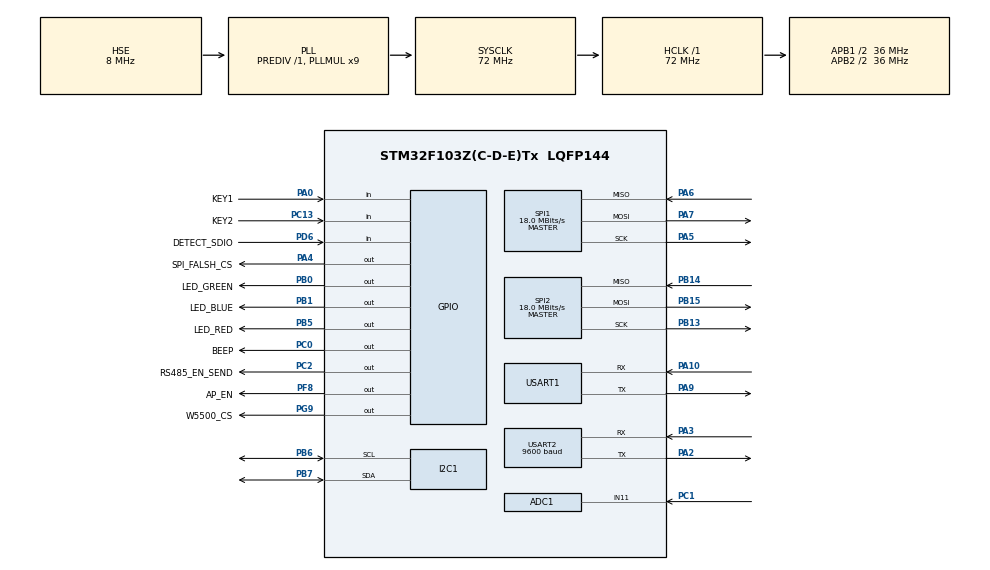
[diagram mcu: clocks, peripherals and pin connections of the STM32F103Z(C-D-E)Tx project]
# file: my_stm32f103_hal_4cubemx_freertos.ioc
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ADC1.Channel-0\#ChannelRegularConversion=ADC_CHANNEL_11
ADC1.NbrOfConversionFlag=1
ADC1.Rank-0\#ChannelRegularConversion=1
ADC1.SamplingTime-0\#ChannelRegularConversion=ADC_SAMPLETIME_1CYCLE_5
ADC1.master=1
FREERTOS.Tasks01=defaultTask,0,128,StartDefaultTask,Default,NULL,Dynamic,NULL,NULL
FREERTOS.configTOTAL_HEAP_SIZE=16384
Mcu.Family=STM32F1
Mcu.Name=STM32F103Z(C-D-E)Tx
Mcu.Package=LQFP144
NVIC.ADC1_2_IRQn=true\:5\:0\:false\:false\:true\:true\:true\:true\:true
NVIC.PriorityGroup=NVIC_PRIORITYGROUP_4
NVIC.TIM2_IRQn=true\:15\:0\:false\:false\:true\:false\:false\:true\:true
NVIC.TIM6_IRQn=true\:5\:0\:false\:false\:true\:true\:true\:true\:true
NVIC.TimeBase=TIM2_IRQn
NVIC.TimeBaseIP=TIM2
OSC_IN.Mode=HSE-External-Oscillator
OSC_IN.Signal=RCC_OSC_IN
OSC_OUT.Mode=HSE-External-Oscillator
OSC_OUT.Signal=RCC_OSC_OUT
PA0-WKUP.GPIO_Label=KEY1
PA0-WKUP.Signal=GPIO_Input
PA10.Mode=Asynchronous
PA10.Signal=USART1_RX
PA13.Mode=Serial_Wire
PA13.Signal=SYS_JTMS-SWDIO
PA14.Mode=Serial_Wire
PA14.Signal=SYS_JTCK-SWCLK
PA2.Mode=Asynchronous
PA2.Signal=USART2_TX
PA3.Mode=Asynchronous
PA3.Signal=USART2_RX
PA4.GPIO_Label=SPI_FALSH_CS
PA4.Signal=GPIO_Output
PA5.Mode=Full_Duplex_Master
PA5.Signal=SPI1_SCK
PA6.Mode=Full_Duplex_Master
PA6.Signal=SPI1_MISO
PA7.Mode=Full_Duplex_Master
PA7.Signal=SPI1_MOSI
PA9.Mode=Asynchronous
PA9.Signal=USART1_TX
PB0.GPIO_Label=LED_GREEN
PB0.PinState=GPIO_PIN_SET
PB0.Signal=GPIO_Output
PB1.GPIO_Label=LED_BLUE
PB1.PinState=GPIO_PIN_SET
PB1.Signal=GPIO_Output
PB13.Mode=Full_Duplex_Master
PB13.Signal=SPI2_SCK
PB14.Mode=Full_Duplex_Master
PB14.Signal=SPI2_MISO
PB15.Mode=Full_Duplex_Master
PB15.Signal=SPI2_MOSI
PB5.GPIO_Label=LED_RED
PB5.PinState=GPIO_PIN_SET
PB5.Signal=GPIO_Output
PB6.Mode=I2C
PB6.Signal=I2C1_SCL
PB7.Mode=I2C
PB7.Signal=I2C1_SDA
PC0.GPIO_Label=BEEP
PC0.Signal=GPIO_Output
PC1.Signal=ADCx_IN11
PC13-TAMPER-RTC.GPIO_Label=KEY2
PC13-TAMPER-RTC.Signal=GPIO_Input
PC14-OSC32_IN.Mode=LSE-External-Oscillator
PC14-OSC32_IN.Signal=RCC_OSC32_IN
PC15-OSC32_OUT.Mode=LSE-External-Oscillator
PC15-OSC32_OUT.Signal=RCC_OSC32_OUT
PC2.GPIO_Label=RS485_EN_SEND
PC2.Signal=GPIO_Output
PD6.GPIO_Label=DETECT_SDIO
PD6.Signal=GPIO_Input
PF8.GPIO_Label=AP_EN
PF8.Signal=GPIO_Output
PG9.GPIO_Label=W5500_CS
PG9.Signal=GPIO_Output
ProjectManager.HeapSize=0x200
ProjectManager.StackSize=0x400
ProjectManager.TargetToolchain=MDK-ARM V5.32
RCC.ADCPresc=RCC_ADCPCLK2_DIV6
RCC.AHBFreq_Value=72000000
RCC.APB1CLKDivider=RCC_HCLK_DIV2
RCC.APB1Freq_Value=36000000
RCC.APB1TimFreq_Value=72000000
RCC.APB2CLKDivider=RCC_HCLK_DIV2
RCC.APB2Freq_Value=36000000
RCC.APB2TimFreq_Value=72000000
RCC.HCLKFreq_Value=72000000
RCC.PLLMUL=RCC_PLL_MUL9
RCC.PLLSourceVirtual=RCC_PLLSOURCE_HSE
RCC.RTCClockSelection=RCC_RTCCLKSOURCE_LSE
RCC.SYSCLKFreq_VALUE=72000000
RCC.SYSCLKSource=RCC_SYSCLKSOURCE_PLLCLK
RCC.USBFreq_Value=72000000
SH.ADCx_IN11.0=ADC1_IN11,IN11
SPI1.BaudRatePrescaler=SPI_BAUDRATEPRESCALER_2
SPI1.CalculateBaudRate=18.0 MBits/s
SPI1.Direction=SPI_DIRECTION_2LINES
SPI1.Mode=SPI_MODE_MASTER
SPI1.VirtualType=VM_MASTER
SPI2.CalculateBaudRate=18.0 MBits/s
SPI2.Direction=SPI_DIRECTION_2LINES
SPI2.Mode=SPI_MODE_MASTER
SPI2.VirtualType=VM_MASTER
TIM6.AutoReloadPreload=TIM_AUTORELOAD_PRELOAD_ENABLE
TIM6.Period=999
TIM6.Prescaler=72
USART1.VirtualMode=VM_ASYNC
USART2.BaudRate=9600
USART2.VirtualMode=VM_ASYNC
VP_FREERTOS_VS_CMSIS_V1.Mode=CMSIS_V1
VP_RTC_VS_RTC_Activate.Mode=RTC_Enabled
VP_SYS_VS_tim2.Mode=TIM2
VP_TIM6_VS_ClockSourceINT.Mode=Enable_Timer
board=custom

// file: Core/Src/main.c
/* USER CODE BEGIN Header */
/**
  ******************************************************************************
  * @file           : main.c
  * @brief          : Main program body
  ******************************************************************************
  * @attention
  *
  * Copyright (c) 2025 STMicroelectronics.
  * All rights reserved.
  *
  * This software is licensed under terms that can be found in the LICENSE file
  * in the root directory of this software component.
  * If no LICENSE file comes with this software, it is provided AS-IS.
  *
  ******************************************************************************
  */
/* USER CODE END Header */
#include "main.h"
#include "cmsis_os.h"

/* USER CODE BEGIN Includes */
#include <stdio.h>
#include <ctype.h>
#include <stdbool.h>
#include <string.h>
#include "ap3216c.h"
#include "socket.h"
#include "DHCP/dhcp.h"
#include "DNS/dns.h"
#include "bsp_spi_flash.h"

/* USER CODE END Includes */

/* USER CODE BEGIN PD */
#define DHCP_SOCKET     0
#define DNS_SOCKET      1
#define HTTP_SOCKET     2

/* USER CODE END PD */

ADC_HandleTypeDef hadc1;

I2C_HandleTypeDef hi2c1;

RTC_HandleTypeDef hrtc;

SPI_HandleTypeDef hspi1;
SPI_HandleTypeDef hspi2;

TIM_HandleTypeDef htim6;

UART_HandleTypeDef huart1;
UART_HandleTypeDef huart2;

osThreadId defaultTaskHandle;
/* USER CODE BEGIN PV */
/* ---------------------------------------- task handles -------------------------------------------------- */
static osThreadId len_run_task_Handle; /* len_run_task handle */
static osThreadId key_scan_task_Handle; /* key_scan_task handle */
static osThreadId get_i2c_data_task_Handle; /* get_i2c_data_task handle */
static osThreadId get_adc_data_task_Handle; /* get_adc_data_task handle */
static osThreadId print_data_task_Handle; /* print_data_task handle */
static osThreadId network_task_Handle; /* network_task handle */
static osThreadId spi_flash_test_task_Handle; /* spi_flash_test_task handle */

/* ---------------------------------------- data variables -------------------------------------------------- */
static uint32_t adcValue;
float user_ALS;
uint16_t user_PS;
uint16_t user_IR;
uint64_t g_time_ms;

/* ---------------------------------------- network variables ---------- */
uint8_t dhcp_buffer[1024]; // 1K should be enough, see https://forum.wiznet.io/t/topic/1612/2
uint8_t dns_buffer[1024]; // 1K seems to be enough for this buffer as well
volatile bool ip_assigned = false;

void CheckHeapSize(void);
/* USER CODE END PV */

void SystemClock_Config(void);
static void MX_GPIO_Init(void);
static void MX_ADC1_Init(void);
static void MX_I2C1_Init(void);
static void MX_RTC_Init(void);
static void MX_TIM6_Init(void);
static void MX_USART1_UART_Init(void);
static void MX_USART2_UART_Init(void);
static void MX_SPI1_Init(void);
static void MX_SPI2_Init(void);
void StartDefaultTask(void const * argument);

/* USER CODE BEGIN PFP */
static void led_run_task(void const * argument);/* len_run_task function */
static void key_scan_task(void const * argument);/* key_scan_task function */
static void get_i2c_data_task(void const * argument);/* get_i2c_data_task function */
static void get_adc_data_task(void const * argument);/* get_adc_data_task function */
static void print_data_task(void const * argument);/* print_data_task function */
static void network_task(void const * argument);/* network_task function */
static void spi_flash_test_task(void const * argument);/* spi_flash_test_task function */

/* USER CODE END PFP */

int main(void)
{

  /* MCU Configuration--------------------------------------------------------*/

  /* Reset of all peripherals, Initializes the Flash interface and the Systick. */
  HAL_Init();

  /* Configure the system clock */
  SystemClock_Config();

  /* Initialize all configured peripherals */
  MX_GPIO_Init();
  MX_ADC1_Init();
  MX_I2C1_Init();
  MX_RTC_Init();
  MX_TIM6_Init();
  MX_USART1_UART_Init();
  MX_USART2_UART_Init();
  MX_SPI1_Init();
  MX_SPI2_Init();
  /* USER CODE BEGIN 2 */
  HAL_TIM_Base_Start_IT(&htim6);
  ap3216c_init();
  SPI_FLASH_Init();
  /* USER CODE END 2 */

  /* Create the thread(s) */
  /* definition and creation of defaultTask */
  osThreadDef(defaultTask, StartDefaultTask, osPriorityNormal, 0, 128);
  defaultTaskHandle = osThreadCreate(osThread(defaultTask), NULL);

  /* USER CODE BEGIN RTOS_THREADS */
  /* add threads, ... */
  osThreadDef(LedRunTask, led_run_task, osPriorityNormal, 1, 128);
  len_run_task_Handle = osThreadCreate(osThread(LedRunTask), NULL);

  osThreadDef(KeyScanTask, key_scan_task, osPriorityNormal, 2, 128);
  key_scan_task_Handle = osThreadCreate(osThread(KeyScanTask), NULL);

  osThreadDef(GetI2cDataTask, get_i2c_data_task, osPriorityNormal, 1, 128);
  get_i2c_data_task_Handle = osThreadCreate(osThread(GetI2cDataTask), NULL);

  osThreadDef(GetAdcDataTask, get_adc_data_task, osPriorityNormal, 1, 128);
  get_adc_data_task_Handle = osThreadCreate(osThread(GetAdcDataTask), NULL);

  osThreadDef(PrintDataTask, print_data_task, osPriorityNormal, 1, 128);
  print_data_task_Handle = osThreadCreate(osThread(PrintDataTask), NULL);

//  osThreadDef(NetworkTask, network_task, osPriorityNormal, 1, 1024);
//  network_task_Handle = osThreadCreate(osThread(NetworkTask), NULL);

//  osThreadDef(SpiFlashTestTask, spi_flash_test_task, osPriorityNormal, 1, 128);
//  spi_flash_test_task_Handle = osThreadCreate(osThread(SpiFlashTestTask), NULL);

  CheckHeapSize();
  printf("Start scheduler\r\n");
  /* USER CODE END RTOS_THREADS */

  /* Start scheduler */
  osKernelStart();

  /* We should never get here as control is now taken by the scheduler */

  /* Infinite loop */
  /* USER CODE BEGIN WHILE */
  while (1)
  {
    osThreadTerminate(len_run_task_Handle);
    osThreadTerminate(key_scan_task_Handle);
    osThreadTerminate(get_i2c_data_task_Handle);
    osThreadTerminate(get_adc_data_task_Handle);
    osThreadTerminate(print_data_task_Handle);
    osThreadTerminate(network_task_Handle);
    osThreadTerminate(spi_flash_test_task_Handle);
    /* USER CODE END WHILE */

  }
}

void SystemClock_Config(void)
{
  RCC_OscInitTypeDef RCC_OscInitStruct = {0};
  RCC_ClkInitTypeDef RCC_ClkInitStruct = {0};
  RCC_PeriphCLKInitTypeDef PeriphClkInit = {0};

  /** Initializes the RCC Oscillators according to the specified parameters
  * in the RCC_OscInitTypeDef structure.
  */
  RCC_OscInitStruct.OscillatorType = RCC_OSCILLATORTYPE_HSE|RCC_OSCILLATORTYPE_LSE;
  RCC_OscInitStruct.HSEState = RCC_HSE_ON;
  RCC_OscInitStruct.HSEPredivValue = RCC_HSE_PREDIV_DIV1;
  RCC_OscInitStruct.LSEState = RCC_LSE_ON;
  RCC_OscInitStruct.HSIState = RCC_HSI_ON;
  RCC_OscInitStruct.PLL.PLLState = RCC_PLL_ON;
  RCC_OscInitStruct.PLL.PLLSource = RCC_PLLSOURCE_HSE;
  RCC_OscInitStruct.PLL.PLLMUL = RCC_PLL_MUL9;
  if (HAL_RCC_OscConfig(&RCC_OscInitStruct) != HAL_OK)
  {
    Error_Handler();
  }

  /** Initializes the CPU, AHB and APB buses clocks
  */
  RCC_ClkInitStruct.ClockType = RCC_CLOCKTYPE_HCLK|RCC_CLOCKTYPE_SYSCLK
                              |RCC_CLOCKTYPE_PCLK1|RCC_CLOCKTYPE_PCLK2;
  RCC_ClkInitStruct.SYSCLKSource = RCC_SYSCLKSOURCE_PLLCLK;
  RCC_ClkInitStruct.AHBCLKDivider = RCC_SYSCLK_DIV1;
  RCC_ClkInitStruct.APB1CLKDivider = RCC_HCLK_DIV2;
  RCC_ClkInitStruct.APB2CLKDivider = RCC_HCLK_DIV2;

  if (HAL_RCC_ClockConfig(&RCC_ClkInitStruct, FLASH_LATENCY_2) != HAL_OK)
  {
    Error_Handler();
  }
  PeriphClkInit.PeriphClockSelection = RCC_PERIPHCLK_RTC|RCC_PERIPHCLK_ADC;
  PeriphClkInit.RTCClockSelection = RCC_RTCCLKSOURCE_LSE;
  PeriphClkInit.AdcClockSelection = RCC_ADCPCLK2_DIV6;
  if (HAL_RCCEx_PeriphCLKConfig(&PeriphClkInit) != HAL_OK)
  {
    Error_Handler();
  }
}

static void MX_ADC1_Init(void)
{

  ADC_ChannelConfTypeDef sConfig = {0};

  /** Common config
  */
  hadc1.Instance = ADC1;
  hadc1.Init.ScanConvMode = ADC_SCAN_DISABLE;
  hadc1.Init.ContinuousConvMode = DISABLE;
  hadc1.Init.DiscontinuousConvMode = DISABLE;
  hadc1.Init.ExternalTrigConv = ADC_SOFTWARE_START;
  hadc1.Init.DataAlign = ADC_DATAALIGN_RIGHT;
  hadc1.Init.NbrOfConversion = 1;
  if (HAL_ADC_Init(&hadc1) != HAL_OK)
  {
    Error_Handler();
  }

  /** Configure Regular Channel
  */
  sConfig.Channel = ADC_CHANNEL_11;
  sConfig.Rank = ADC_REGULAR_RANK_1;
  sConfig.SamplingTime = ADC_SAMPLETIME_1CYCLE_5;
  if (HAL_ADC_ConfigChannel(&hadc1, &sConfig) != HAL_OK)
  {
    Error_Handler();
  }

}

static void MX_I2C1_Init(void)
{

  hi2c1.Instance = I2C1;
  hi2c1.Init.ClockSpeed = 100000;
  hi2c1.Init.DutyCycle = I2C_DUTYCYCLE_2;
  hi2c1.Init.OwnAddress1 = 0;
  hi2c1.Init.AddressingMode = I2C_ADDRESSINGMODE_7BIT;
  hi2c1.Init.DualAddressMode = I2C_DUALADDRESS_DISABLE;
  hi2c1.Init.OwnAddress2 = 0;
  hi2c1.Init.GeneralCallMode = I2C_GENERALCALL_DISABLE;
  hi2c1.Init.NoStretchMode = I2C_NOSTRETCH_DISABLE;
  if (HAL_I2C_Init(&hi2c1) != HAL_OK)
  {
    Error_Handler();
  }

}

static void MX_RTC_Init(void)
{

  /** Initialize RTC Only
  */
  hrtc.Instance = RTC;
  hrtc.Init.AsynchPrediv = RTC_AUTO_1_SECOND;
  hrtc.Init.OutPut = RTC_OUTPUTSOURCE_ALARM;
  if (HAL_RTC_Init(&hrtc) != HAL_OK)
  {
    Error_Handler();
  }

}

static void MX_SPI1_Init(void)
{

  /* SPI1 parameter configuration*/
  hspi1.Instance = SPI1;
  hspi1.Init.Mode = SPI_MODE_MASTER;
  hspi1.Init.Direction = SPI_DIRECTION_2LINES;
  hspi1.Init.DataSize = SPI_DATASIZE_8BIT;
  hspi1.Init.CLKPolarity = SPI_POLARITY_LOW;
  hspi1.Init.CLKPhase = SPI_PHASE_1EDGE;
  hspi1.Init.NSS = SPI_NSS_SOFT;
  hspi1.Init.BaudRatePrescaler = SPI_BAUDRATEPRESCALER_2;
  hspi1.Init.FirstBit = SPI_FIRSTBIT_MSB;
  hspi1.Init.TIMode = SPI_TIMODE_DISABLE;
  hspi1.Init.CRCCalculation = SPI_CRCCALCULATION_DISABLE;
  hspi1.Init.CRCPolynomial = 10;
  if (HAL_SPI_Init(&hspi1) != HAL_OK)
  {
    Error_Handler();
  }

}

static void MX_SPI2_Init(void)
{

  /* SPI2 parameter configuration*/
  hspi2.Instance = SPI2;
  hspi2.Init.Mode = SPI_MODE_MASTER;
  hspi2.Init.Direction = SPI_DIRECTION_2LINES;
  hspi2.Init.DataSize = SPI_DATASIZE_8BIT;
  hspi2.Init.CLKPolarity = SPI_POLARITY_LOW;
  hspi2.Init.CLKPhase = SPI_PHASE_1EDGE;
  hspi2.Init.NSS = SPI_NSS_SOFT;
  hspi2.Init.BaudRatePrescaler = SPI_BAUDRATEPRESCALER_2;
  hspi2.Init.FirstBit = SPI_FIRSTBIT_MSB;
  hspi2.Init.TIMode = SPI_TIMODE_DISABLE;
  hspi2.Init.CRCCalculation = SPI_CRCCALCULATION_DISABLE;
  hspi2.Init.CRCPolynomial = 10;
  if (HAL_SPI_Init(&hspi2) != HAL_OK)
  {
    Error_Handler();
  }

}

static void MX_TIM6_Init(void)
{

  TIM_MasterConfigTypeDef sMasterConfig = {0};

  htim6.Instance = TIM6;
  htim6.Init.Prescaler = 72;
  htim6.Init.CounterMode = TIM_COUNTERMODE_UP;
  htim6.Init.Period = 999;
  htim6.Init.AutoReloadPreload = TIM_AUTORELOAD_PRELOAD_ENABLE;
  if (HAL_TIM_Base_Init(&htim6) != HAL_OK)
  {
    Error_Handler();
  }
  sMasterConfig.MasterOutputTrigger = TIM_TRGO_RESET;
  sMasterConfig.MasterSlaveMode = TIM_MASTERSLAVEMODE_DISABLE;
  if (HAL_TIMEx_MasterConfigSynchronization(&htim6, &sMasterConfig) != HAL_OK)
  {
    Error_Handler();
  }

}

static void MX_USART1_UART_Init(void)
{

  huart1.Instance = USART1;
  huart1.Init.BaudRate = 115200;
  huart1.Init.WordLength = UART_WORDLENGTH_8B;
  huart1.Init.StopBits = UART_STOPBITS_1;
  huart1.Init.Parity = UART_PARITY_NONE;
  huart1.Init.Mode = UART_MODE_TX_RX;
  huart1.Init.HwFlowCtl = UART_HWCONTROL_NONE;
  huart1.Init.OverSampling = UART_OVERSAMPLING_16;
  if (HAL_UART_Init(&huart1) != HAL_OK)
  {
    Error_Handler();
  }

}

static void MX_USART2_UART_Init(void)
{

  huart2.Instance = USART2;
  huart2.Init.BaudRate = 9600;
  huart2.Init.WordLength = UART_WORDLENGTH_8B;
  huart2.Init.StopBits = UART_STOPBITS_1;
  huart2.Init.Parity = UART_PARITY_NONE;
  huart2.Init.Mode = UART_MODE_TX_RX;
  huart2.Init.HwFlowCtl = UART_HWCONTROL_NONE;
  huart2.Init.OverSampling = UART_OVERSAMPLING_16;
  if (HAL_UART_Init(&huart2) != HAL_OK)
  {
    Error_Handler();
  }

}

static void MX_GPIO_Init(void)
{
  GPIO_InitTypeDef GPIO_InitStruct = {0};

  /* GPIO Ports Clock Enable */
  __HAL_RCC_GPIOC_CLK_ENABLE();
  __HAL_RCC_GPIOF_CLK_ENABLE();
  __HAL_RCC_GPIOA_CLK_ENABLE();
  __HAL_RCC_GPIOB_CLK_ENABLE();
  __HAL_RCC_GPIOD_CLK_ENABLE();
  __HAL_RCC_GPIOG_CLK_ENABLE();

  /*Configure GPIO pin Output Level */
  HAL_GPIO_WritePin(AP_EN_GPIO_Port, AP_EN_Pin, GPIO_PIN_RESET);

  /*Configure GPIO pin Output Level */
  HAL_GPIO_WritePin(GPIOC, BEEP_Pin|RS485_EN_SEND_Pin, GPIO_PIN_RESET);

  /*Configure GPIO pin Output Level */
  HAL_GPIO_WritePin(SPI_FALSH_CS_GPIO_Port, SPI_FALSH_CS_Pin, GPIO_PIN_RESET);

  /*Configure GPIO pin Output Level */
  HAL_GPIO_WritePin(GPIOB, LED_GREEN_Pin|LED_BLUE_Pin|LED_RED_Pin, GPIO_PIN_SET);

  /*Configure GPIO pin Output Level */
  HAL_GPIO_WritePin(W5500_CS_GPIO_Port, W5500_CS_Pin, GPIO_PIN_RESET);

  /*Configure GPIO pin : KEY2_Pin */
  GPIO_InitStruct.Pin = KEY2_Pin;
  GPIO_InitStruct.Mode = GPIO_MODE_INPUT;
  GPIO_InitStruct.Pull = GPIO_NOPULL;
  HAL_GPIO_Init(KEY2_GPIO_Port, &GPIO_InitStruct);

  /*Configure GPIO pin : AP_EN_Pin */
  GPIO_InitStruct.Pin = AP_EN_Pin;
  GPIO_InitStruct.Mode = GPIO_MODE_OUTPUT_PP;
  GPIO_InitStruct.Pull = GPIO_NOPULL;
  GPIO_InitStruct.Speed = GPIO_SPEED_FREQ_LOW;
  HAL_GPIO_Init(AP_EN_GPIO_Port, &GPIO_InitStruct);

  /*Configure GPIO pins : BEEP_Pin RS485_EN_SEND_Pin */
  GPIO_InitStruct.Pin = BEEP_Pin|RS485_EN_SEND_Pin;
  GPIO_InitStruct.Mode = GPIO_MODE_OUTPUT_PP;
  GPIO_InitStruct.Pull = GPIO_NOPULL;
  GPIO_InitStruct.Speed = GPIO_SPEED_FREQ_LOW;
  HAL_GPIO_Init(GPIOC, &GPIO_InitStruct);

  /*Configure GPIO pin : KEY1_Pin */
  GPIO_InitStruct.Pin = KEY1_Pin;
  GPIO_InitStruct.Mode = GPIO_MODE_INPUT;
  GPIO_InitStruct.Pull = GPIO_NOPULL;
  HAL_GPIO_Init(KEY1_GPIO_Port, &GPIO_InitStruct);

  /*Configure GPIO pin : SPI_FALSH_CS_Pin */
  GPIO_InitStruct.Pin = SPI_FALSH_CS_Pin;
  GPIO_InitStruct.Mode = GPIO_MODE_OUTPUT_PP;
  GPIO_InitStruct.Pull = GPIO_NOPULL;
  GPIO_InitStruct.Speed = GPIO_SPEED_FREQ_LOW;
  HAL_GPIO_Init(SPI_FALSH_CS_GPIO_Port, &GPIO_InitStruct);

  /*Configure GPIO pins : LED_GREEN_Pin LED_BLUE_Pin LED_RED_Pin */
  GPIO_InitStruct.Pin = LED_GREEN_Pin|LED_BLUE_Pin|LED_RED_Pin;
  GPIO_InitStruct.Mode = GPIO_MODE_OUTPUT_PP;
  GPIO_InitStruct.Pull = GPIO_NOPULL;
  GPIO_InitStruct.Speed = GPIO_SPEED_FREQ_LOW;
  HAL_GPIO_Init(GPIOB, &GPIO_InitStruct);

  /*Configure GPIO pin : DETECT_SDIO_Pin */
  GPIO_InitStruct.Pin = DETECT_SDIO_Pin;
  GPIO_InitStruct.Mode = GPIO_MODE_INPUT;
  GPIO_InitStruct.Pull = GPIO_NOPULL;
  HAL_GPIO_Init(DETECT_SDIO_GPIO_Port, &GPIO_InitStruct);

  /*Configure GPIO pin : W5500_CS_Pin */
  GPIO_InitStruct.Pin = W5500_CS_Pin;
  GPIO_InitStruct.Mode = GPIO_MODE_OUTPUT_PP;
  GPIO_InitStruct.Pull = GPIO_NOPULL;
  GPIO_InitStruct.Speed = GPIO_SPEED_FREQ_LOW;
  HAL_GPIO_Init(W5500_CS_GPIO_Port, &GPIO_InitStruct);

}

/* USER CODE BEGIN 4 */
/*redefine fputc function to transmit data through uart1*/
int fputc(int ch, FILE *f)
{
    while ((USART1->SR & 0X40) == 0);

    USART1->DR = (uint8_t)ch;
    return ch;
}
/* -----------------------------------------------user task--------------------------------------------------*/
void led_run_task(void const * argument)
{
  for(;;)
  {
    LED_RED_TOGGLE;

    osDelay(500);
  }
}

void key_scan_task(void const * argument)
{
  for(;;)
  {

    if(HAL_GPIO_ReadPin(KEY1_GPIO_Port, KEY1_Pin) == GPIO_PIN_SET)
    {
      osDelay(5);
      if(HAL_GPIO_ReadPin(KEY1_GPIO_Port, KEY1_Pin) == GPIO_PIN_RESET)
      {
        BEEP_ON;
        osDelay(50);
        LED_GREEN_TOGGLE;
        BEEP_OFF;
      }
    }

    if(HAL_GPIO_ReadPin(KEY2_GPIO_Port, KEY2_Pin) == GPIO_PIN_SET)
    {
      osDelay(5);
      if(HAL_GPIO_ReadPin(KEY2_GPIO_Port, KEY2_Pin) == GPIO_PIN_RESET)
      {
        BEEP_ON;
        osDelay(50);
        LED_BLUE_TOGGLE;
        BEEP_OFF;
      }
    }

    osDelay(1);
  }
}

void get_i2c_data_task(void const * argument)
{
  for(;;)
  {
    user_ALS = ap3216c_read_ambient_light();
    user_PS = ap3216c_read_ps_data();
    user_IR = ap3216c_read_ir_data();

    osDelay(500);
  }
}

void get_adc_data_task(void const * argument)
{
  for(;;)
  {
    HAL_ADC_Start_IT(&hadc1);

    osDelay(500);
  }
}

void HAL_ADC_ConvCpltCallback(ADC_HandleTypeDef* hadc)
{
    if (hadc->Instance == ADC1)
    {
        adcValue = HAL_ADC_GetValue(hadc);
    }
}

void print_data_task(void const * argument)
{
  for(;;)
  {
    //printf("ADC Value: %d\r\n", adcValue);
    //printf("light:%.2fLux, red_light:%d, close:%d\r\n", user_ALS, user_IR, user_PS & 0x3FF);

    osDelay(500);
  }
}

void CheckHeapSize(void)
{
    size_t freeHeapSize = xPortGetFreeHeapSize();
    size_t minFreeHeapSize = xPortGetMinimumEverFreeHeapSize();

    printf("Current free heap size: %zu bytes\n", freeHeapSize);
    printf("Minimum ever free heap size: %zu bytes\n", minFreeHeapSize);
}

void W5500_Select(void) {
  HAL_GPIO_WritePin(W5500_CS_GPIO_Port, W5500_CS_Pin, GPIO_PIN_RESET);
}

void W5500_Unselect(void) {
  HAL_GPIO_WritePin(W5500_CS_GPIO_Port, W5500_CS_Pin, GPIO_PIN_SET);
}

void W5500_ReadBuff(uint8_t* buff, uint16_t len) {
  HAL_SPI_Receive(&hspi2, buff, len, HAL_MAX_DELAY);
}

void W5500_WriteBuff(uint8_t* buff, uint16_t len) {
  HAL_SPI_Transmit(&hspi2, buff, len, HAL_MAX_DELAY);
}

uint8_t W5500_ReadByte(void) {
  uint8_t byte;
  W5500_ReadBuff(&byte, sizeof(byte));
  return byte;
}

void W5500_WriteByte(uint8_t byte) {
  W5500_WriteBuff(&byte, sizeof(byte));
}

void Callback_IPAssigned(void) {
  printf("Callback: IP assigned! Leased time: %d sec\r\n", getDHCPLeasetime());
    ip_assigned = true;
}

void Callback_IPConflict(void) {
  printf("Callback: IP conflict!\r\n");
}

void network_task(void const * argument)
{
  osDelay(2000);
  printf("\r\ninit() called!\r\n");
  printf("Registering W5500 callbacks...\r\n");
  reg_wizchip_cs_cbfunc(W5500_Select, W5500_Unselect);
  reg_wizchip_spi_cbfunc(W5500_ReadByte, W5500_WriteByte);
  reg_wizchip_spiburst_cbfunc(W5500_ReadBuff, W5500_WriteBuff);

  printf("Calling wizchip_init()...\r\n");
  uint8_t rx_tx_buff_sizes[] = {2, 2, 2, 2, 2, 2, 2, 2};
  wizchip_init(rx_tx_buff_sizes, rx_tx_buff_sizes);

  printf("Calling DHCP_init()...\r\n");
  wiz_NetInfo net_info = {
      .mac  = { 0xEA, 0x11, 0x22, 0x33, 0x44, 0xEA },
      .dhcp = NETINFO_DHCP
  };

  // set MAC address before using DHCP
  setSHAR(net_info.mac);
  DHCP_init(DHCP_SOCKET, dhcp_buffer);

  printf("Registering DHCP callbacks...\r\n");
  reg_dhcp_cbfunc(
      Callback_IPAssigned,
      Callback_IPAssigned,
      Callback_IPConflict
  );

  printf("Calling DHCP_run()...\r\n");
  // actually should be called in a loop, e.g. by timer
  uint32_t ctr = 10000;
  while((!ip_assigned) && (ctr > 0)) {
      DHCP_run();
      osDelay(1);
      ctr--;
  }
  if(!ip_assigned) {
    printf("\r\nIP was not assigned :(\r\n");
    //return;
  }

  getIPfromDHCP(net_info.ip);
  getGWfromDHCP(net_info.gw);
  getSNfromDHCP(net_info.sn);

  uint8_t dns[4];
  getDNSfromDHCP(dns);

  printf("IP:  %d.%d.%d.%d\r\nGW:  %d.%d.%d.%d\r\nNet: %d.%d.%d.%d\r\nDNS: %d.%d.%d.%d\r\n",
      net_info.ip[0], net_info.ip[1], net_info.ip[2], net_info.ip[3],
      net_info.gw[0], net_info.gw[1], net_info.gw[2], net_info.gw[3],
      net_info.sn[0], net_info.sn[1], net_info.sn[2], net_info.sn[3],
      dns[0], dns[1], dns[2], dns[3]
  );

  printf("Calling wizchip_setnetinfo()...\r\n");
  wizchip_setnetinfo(&net_info);

  printf("Calling DNS_init()...\r\n");
  DNS_init(DNS_SOCKET, dns_buffer);

  uint8_t addr[4];
  {
      char domain_name[] = "eax.me";
      printf("Resolving domain name \"%s\"...\r\n", domain_name);
      int8_t res = DNS_run(dns, (uint8_t*)&domain_name, addr);
      if(res != 1) {
        printf("DNS_run() failed, res = %d", res);
          return;
      }
      printf("Result: %d.%d.%d.%d\r\n", addr[0], addr[1], addr[2], addr[3]);
  }

  printf("Creating socket...\r\n");
  uint8_t http_socket = HTTP_SOCKET;
  uint8_t code = socket(http_socket, Sn_MR_TCP, 10888, 0);
  if(code != http_socket) {
    printf("socket() failed, code = %d\r\n", code);
    return;
  }

  printf("Socket created, connecting...\r\n");
  code = connect(http_socket, addr, 80);
  if(code != SOCK_OK) {
    printf("connect() failed, code = %d\r\n", code);
    close(http_socket);
    return;
  }

  printf("Connected, sending HTTP request...\r\n");
  {
      char req[] = "GET / HTTP/1.0\r\nHost: eax.me\r\n\r\n";
      uint16_t len = sizeof(req) - 1;
      uint8_t* buff = (uint8_t*)&req;
      while(len > 0) {
        printf("Sending %d bytes...\r\n", len);
          int32_t nbytes = send(http_socket, buff, len);
          if(nbytes <= 0) {
            printf("send() failed, %d returned\r\n", nbytes);
            close(http_socket);
            return;
          }
          printf("%d bytes sent!\r\n", nbytes);
          len -= nbytes;
      }
  }

  printf("Request sent. Reading response...\r\n");
  {
      char buff[32];
      for(;;) {
          int32_t nbytes = recv(http_socket, (uint8_t*)&buff, sizeof(buff)-1);
          if(nbytes == SOCKERR_SOCKSTATUS) {
            printf("\r\nConnection closed.\r\n");
            break;
          }

          if(nbytes <= 0) {
            printf("\r\nrecv() failed, %d returned\r\n", nbytes);
            break;
          }

          buff[nbytes] = '\0';
          printf("%s", buff);
      }
  }

  printf("Closing socket.\r\n");
  close(http_socket);

  for (;;)
  {

    osDelay(500);
  }
}

void spi_flash_test_task(void const * argument)
{
  SPI_Test();
  for(;;)
  {
    osDelay(500);
    vTaskDelete(NULL);
  }
}

/* USER CODE END 4 */

void StartDefaultTask(void const * argument)
{
  /* USER CODE BEGIN 5 */
  /* Infinite loop */
  for(;;)
  {
    osDelay(500);
  }
  /* USER CODE END 5 */
}

void HAL_TIM_PeriodElapsedCallback(TIM_HandleTypeDef *htim)
{
  if (htim->Instance == TIM2)
  {
    HAL_IncTick();
  }
  /* USER CODE BEGIN Callback 1 */
  if (htim->Instance == TIM6)
  {
    g_time_ms++;
  }
  /* USER CODE END Callback 1 */
}

void Error_Handler(void)
{
  __disable_irq();
  while (1)
  {
  }
}
